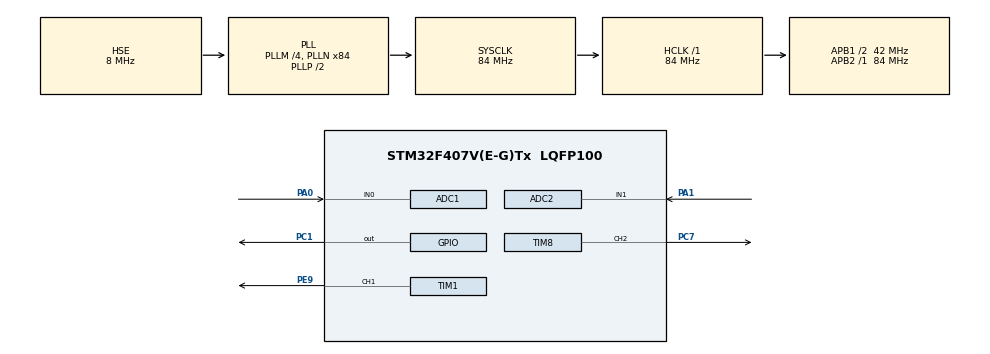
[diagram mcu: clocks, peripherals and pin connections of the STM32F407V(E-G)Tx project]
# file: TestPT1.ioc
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ADC1.Channel-0\#ChannelRegularConversion=ADC_CHANNEL_0
ADC1.ClockPrescaler=ADC_CLOCK_SYNC_PCLK_DIV4
ADC1.NbrOfConversionFlag=1
ADC1.Rank-0\#ChannelRegularConversion=1
ADC1.SamplingTime-0\#ChannelRegularConversion=ADC_SAMPLETIME_3CYCLES
ADC1.master=1
ADC2.Channel-0\#ChannelRegularConversion=ADC_CHANNEL_1
ADC2.ClockPrescaler=ADC_CLOCK_SYNC_PCLK_DIV4
ADC2.NbrOfConversionFlag=1
ADC2.Rank-0\#ChannelRegularConversion=1
ADC2.SamplingTime-0\#ChannelRegularConversion=ADC_SAMPLETIME_3CYCLES
Dma.Request0=TIM1_CH1
Dma.Request1=TIM8_CH2
Dma.TIM1_CH1.0.Direction=DMA_MEMORY_TO_PERIPH
Dma.TIM1_CH1.0.FIFOMode=DMA_FIFOMODE_DISABLE
Dma.TIM1_CH1.0.Instance=DMA2_Stream1
Dma.TIM1_CH1.0.MemDataAlignment=DMA_MDATAALIGN_HALFWORD
Dma.TIM1_CH1.0.MemInc=DMA_MINC_ENABLE
Dma.TIM1_CH1.0.Mode=DMA_NORMAL
Dma.TIM1_CH1.0.PeriphDataAlignment=DMA_PDATAALIGN_HALFWORD
Dma.TIM1_CH1.0.PeriphInc=DMA_PINC_DISABLE
Dma.TIM1_CH1.0.Priority=DMA_PRIORITY_LOW
Dma.TIM8_CH2.1.Direction=DMA_MEMORY_TO_PERIPH
Dma.TIM8_CH2.1.FIFOMode=DMA_FIFOMODE_DISABLE
Dma.TIM8_CH2.1.Instance=DMA2_Stream3
Dma.TIM8_CH2.1.MemDataAlignment=DMA_MDATAALIGN_HALFWORD
Dma.TIM8_CH2.1.MemInc=DMA_MINC_ENABLE
Dma.TIM8_CH2.1.Mode=DMA_NORMAL
Dma.TIM8_CH2.1.PeriphDataAlignment=DMA_PDATAALIGN_HALFWORD
Dma.TIM8_CH2.1.PeriphInc=DMA_PINC_DISABLE
Dma.TIM8_CH2.1.Priority=DMA_PRIORITY_LOW
Mcu.Family=STM32F4
Mcu.Name=STM32F407V(E-G)Tx
Mcu.Package=LQFP100
NVIC.DMA2_Stream1_IRQn=true\:0\:0\:false\:false\:true\:false\:true\:true
NVIC.DMA2_Stream3_IRQn=true\:0\:0\:false\:false\:true\:false\:true\:true
NVIC.PriorityGroup=NVIC_PRIORITYGROUP_4
PA0-WKUP.Signal=ADCx_IN0
PA1.Signal=ADCx_IN1
PA13.Mode=Serial_Wire
PA13.Signal=SYS_JTMS-SWDIO
PA14.Mode=Serial_Wire
PA14.Signal=SYS_JTCK-SWCLK
PC1.Signal=GPIO_Output
PC14-OSC32_IN.Mode=LSE-External-Oscillator
PC14-OSC32_IN.Signal=RCC_OSC32_IN
PC15-OSC32_OUT.Mode=LSE-External-Oscillator
PC15-OSC32_OUT.Signal=RCC_OSC32_OUT
PC7.Signal=S_TIM8_CH2
PE9.Signal=S_TIM1_CH1
PH0-OSC_IN.Mode=HSE-External-Oscillator
PH0-OSC_IN.Signal=RCC_OSC_IN
PH1-OSC_OUT.Mode=HSE-External-Oscillator
PH1-OSC_OUT.Signal=RCC_OSC_OUT
ProjectManager.HeapSize=0x200
ProjectManager.StackSize=0x400
ProjectManager.TargetToolchain=STM32CubeIDE
RCC.48MHZClocksFreq_Value=42000000
RCC.AHBFreq_Value=84000000
RCC.APB1CLKDivider=RCC_HCLK_DIV2
RCC.APB1Freq_Value=42000000
RCC.APB1TimFreq_Value=84000000
RCC.APB2Freq_Value=84000000
RCC.APB2TimFreq_Value=84000000
RCC.CortexFreq_Value=84000000
RCC.HCLKFreq_Value=84000000
RCC.HSE_VALUE=8000000
RCC.HSI_VALUE=16000000
RCC.PLLM=4
RCC.PLLN=84
RCC.PLLSourceVirtual=RCC_PLLSOURCE_HSE
RCC.SYSCLKFreq_VALUE=84000000
RCC.SYSCLKSource=RCC_SYSCLKSOURCE_PLLCLK
RCC.VCOOutputFreq_Value=168000000
SH.ADCx_IN0.0=ADC1_IN0,IN0
SH.ADCx_IN1.0=ADC2_IN1,IN1
SH.S_TIM1_CH1.0=TIM1_CH1,PWM Generation1 CH1
SH.S_TIM8_CH2.0=TIM8_CH2,PWM Generation2 CH2
TIM1.Channel-PWM\ Generation1\ CH1=TIM_CHANNEL_1
TIM1.Prescaler=84-1
TIM1.RepetitionCounter=100-1
TIM8.Channel-PWM\ Generation2\ CH2=TIM_CHANNEL_2
TIM8.Prescaler=84-1
TIM8.RepetitionCounter=100-1
VP_TIM1_VS_ClockSourceINT.Mode=Internal
VP_TIM8_VS_ClockSourceINT.Mode=Internal
board=custom

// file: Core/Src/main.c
/* USER CODE BEGIN Header */
/**
  ******************************************************************************
  * @file           : main.c
  * @brief          : Main program body
  ******************************************************************************
  * @attention
  *
  * Copyright (c) 2023 STMicroelectronics.
  * All rights reserved.
  *
  * This software is licensed under terms that can be found in the LICENSE file
  * in the root directory of this software component.
  * If no LICENSE file comes with this software, it is provided AS-IS.
  *
  ******************************************************************************
  */
/* USER CODE END Header */
#include "main.h"

ADC_HandleTypeDef hadc1;
ADC_HandleTypeDef hadc2;

TIM_HandleTypeDef htim1;
TIM_HandleTypeDef htim8;
DMA_HandleTypeDef hdma_tim1_ch1;
DMA_HandleTypeDef hdma_tim8_ch2;

void SystemClock_Config(void);
static void MX_GPIO_Init(void);
static void MX_DMA_Init(void);
static void MX_ADC1_Init(void);
static void MX_ADC2_Init(void);
static void MX_TIM1_Init(void);
static void MX_TIM8_Init(void);

int main(void)
{

  /* MCU Configuration--------------------------------------------------------*/

  /* Reset of all peripherals, Initializes the Flash interface and the Systick. */
  HAL_Init();

  /* Configure the system clock */
  SystemClock_Config();

  /* Initialize all configured peripherals */
  MX_GPIO_Init();
  MX_DMA_Init();
  MX_ADC1_Init();
  MX_ADC2_Init();
  MX_TIM1_Init();
  MX_TIM8_Init();
  /* USER CODE BEGIN 2 */

  uint32_t adc_steering, adc_throttle;

  //setting up first PWM
  //TIM1->CCR1 = 50;
  //HAL_TIM_PWM_ConfigChannel(&htim1, &sConfigOC, TIM_CHANNEL_1);
  HAL_TIM_Base_Start(&htim1);
  HAL_TIM_PWM_Start(&htim1, TIM_CHANNEL_1);

  //setting up second PWM
  //TIM8->CCR2 = 50;
  //HAL_TIM_PWM_ConfigChannel(&htim8, &sConfigOC, TIM_CHANNEL_2);
  HAL_TIM_Base_Start(&htim8);
  HAL_TIM_PWM_Start(&htim8, TIM_CHANNEL_2);

  /* USER CODE END 2 */

  /* Infinite loop */
  while (1)
  {

    /* USER CODE BEGIN 3 */

	  //ADC

	  //getting steering value
	  HAL_ADC_Start(&hadc1); 								//starting ADC conversion
	  HAL_ADC_PollForConversion(&hadc1, HAL_MAX_DELAY);	  	//waiting for conversion
	  adc_steering = HAL_ADC_GetValue(&hadc1);	  			//Read ADC converted value
	  HAL_ADC_Stop(&hadc1);									//stop conversion
	  //getting throttle value
	  HAL_ADC_Start(&hadc2); 								//starting ADC conversion
	  HAL_ADC_PollForConversion(&hadc2, HAL_MAX_DELAY);	  	//waiting for conversion
	  adc_throttle = HAL_ADC_GetValue(&hadc2);	  			//Read ADC converted value
	  HAL_ADC_Stop(&hadc2);									//stop conversion

	  printf("Steering Value: %lu \n", adc_steering);
	  printf("Throttle Value: %lu \n", adc_throttle);

	  __HAL_TIM_SetCompare(&htim1, TIM_CHANNEL_1, adc_steering);
	  __HAL_TIM_SetCompare(&htim8, TIM_CHANNEL_2, adc_throttle);

	  HAL_GPIO_TogglePin(GPIOC, GPIO_PIN_1);
	  HAL_Delay(adc_steering);
  }
  /* USER CODE END 3 */
}

void SystemClock_Config(void)
{
  RCC_OscInitTypeDef RCC_OscInitStruct = {0};
  RCC_ClkInitTypeDef RCC_ClkInitStruct = {0};

  /** Configure the main internal regulator output voltage
  */
  __HAL_RCC_PWR_CLK_ENABLE();
  __HAL_PWR_VOLTAGESCALING_CONFIG(PWR_REGULATOR_VOLTAGE_SCALE1);

  /** Initializes the RCC Oscillators according to the specified parameters
  * in the RCC_OscInitTypeDef structure.
  */
  RCC_OscInitStruct.OscillatorType = RCC_OSCILLATORTYPE_HSE;
  RCC_OscInitStruct.HSEState = RCC_HSE_ON;
  RCC_OscInitStruct.PLL.PLLState = RCC_PLL_ON;
  RCC_OscInitStruct.PLL.PLLSource = RCC_PLLSOURCE_HSE;
  RCC_OscInitStruct.PLL.PLLM = 4;
  RCC_OscInitStruct.PLL.PLLN = 84;
  RCC_OscInitStruct.PLL.PLLP = RCC_PLLP_DIV2;
  RCC_OscInitStruct.PLL.PLLQ = 4;
  if (HAL_RCC_OscConfig(&RCC_OscInitStruct) != HAL_OK)
  {
    Error_Handler();
  }

  /** Initializes the CPU, AHB and APB buses clocks
  */
  RCC_ClkInitStruct.ClockType = RCC_CLOCKTYPE_HCLK|RCC_CLOCKTYPE_SYSCLK
                              |RCC_CLOCKTYPE_PCLK1|RCC_CLOCKTYPE_PCLK2;
  RCC_ClkInitStruct.SYSCLKSource = RCC_SYSCLKSOURCE_PLLCLK;
  RCC_ClkInitStruct.AHBCLKDivider = RCC_SYSCLK_DIV1;
  RCC_ClkInitStruct.APB1CLKDivider = RCC_HCLK_DIV2;
  RCC_ClkInitStruct.APB2CLKDivider = RCC_HCLK_DIV1;

  if (HAL_RCC_ClockConfig(&RCC_ClkInitStruct, FLASH_LATENCY_2) != HAL_OK)
  {
    Error_Handler();
  }
}

static void MX_ADC1_Init(void)
{

  ADC_ChannelConfTypeDef sConfig = {0};

  /** Configure the global features of the ADC (Clock, Resolution, Data Alignment and number of conversion)
  */
  hadc1.Instance = ADC1;
  hadc1.Init.ClockPrescaler = ADC_CLOCK_SYNC_PCLK_DIV4;
  hadc1.Init.Resolution = ADC_RESOLUTION_12B;
  hadc1.Init.ScanConvMode = DISABLE;
  hadc1.Init.ContinuousConvMode = DISABLE;
  hadc1.Init.DiscontinuousConvMode = DISABLE;
  hadc1.Init.ExternalTrigConvEdge = ADC_EXTERNALTRIGCONVEDGE_NONE;
  hadc1.Init.ExternalTrigConv = ADC_SOFTWARE_START;
  hadc1.Init.DataAlign = ADC_DATAALIGN_RIGHT;
  hadc1.Init.NbrOfConversion = 1;
  hadc1.Init.DMAContinuousRequests = DISABLE;
  hadc1.Init.EOCSelection = ADC_EOC_SINGLE_CONV;
  if (HAL_ADC_Init(&hadc1) != HAL_OK)
  {
    Error_Handler();
  }

  /** Configure for the selected ADC regular channel its corresponding rank in the sequencer and its sample time.
  */
  sConfig.Channel = ADC_CHANNEL_0;
  sConfig.Rank = 1;
  sConfig.SamplingTime = ADC_SAMPLETIME_3CYCLES;
  if (HAL_ADC_ConfigChannel(&hadc1, &sConfig) != HAL_OK)
  {
    Error_Handler();
  }

}

static void MX_ADC2_Init(void)
{

  ADC_ChannelConfTypeDef sConfig = {0};

  /** Configure the global features of the ADC (Clock, Resolution, Data Alignment and number of conversion)
  */
  hadc2.Instance = ADC2;
  hadc2.Init.ClockPrescaler = ADC_CLOCK_SYNC_PCLK_DIV4;
  hadc2.Init.Resolution = ADC_RESOLUTION_12B;
  hadc2.Init.ScanConvMode = DISABLE;
  hadc2.Init.ContinuousConvMode = DISABLE;
  hadc2.Init.DiscontinuousConvMode = DISABLE;
  hadc2.Init.ExternalTrigConvEdge = ADC_EXTERNALTRIGCONVEDGE_NONE;
  hadc2.Init.ExternalTrigConv = ADC_SOFTWARE_START;
  hadc2.Init.DataAlign = ADC_DATAALIGN_RIGHT;
  hadc2.Init.NbrOfConversion = 1;
  hadc2.Init.DMAContinuousRequests = DISABLE;
  hadc2.Init.EOCSelection = ADC_EOC_SINGLE_CONV;
  if (HAL_ADC_Init(&hadc2) != HAL_OK)
  {
    Error_Handler();
  }

  /** Configure for the selected ADC regular channel its corresponding rank in the sequencer and its sample time.
  */
  sConfig.Channel = ADC_CHANNEL_1;
  sConfig.Rank = 1;
  sConfig.SamplingTime = ADC_SAMPLETIME_3CYCLES;
  if (HAL_ADC_ConfigChannel(&hadc2, &sConfig) != HAL_OK)
  {
    Error_Handler();
  }

}

static void MX_TIM1_Init(void)
{

  TIM_ClockConfigTypeDef sClockSourceConfig = {0};
  TIM_MasterConfigTypeDef sMasterConfig = {0};
  TIM_OC_InitTypeDef sConfigOC = {0};
  TIM_BreakDeadTimeConfigTypeDef sBreakDeadTimeConfig = {0};

  htim1.Instance = TIM1;
  htim1.Init.Prescaler = 84-1;
  htim1.Init.CounterMode = TIM_COUNTERMODE_UP;
  htim1.Init.Period = 65535;
  htim1.Init.ClockDivision = TIM_CLOCKDIVISION_DIV1;
  htim1.Init.RepetitionCounter = 100-1;
  htim1.Init.AutoReloadPreload = TIM_AUTORELOAD_PRELOAD_DISABLE;
  if (HAL_TIM_Base_Init(&htim1) != HAL_OK)
  {
    Error_Handler();
  }
  sClockSourceConfig.ClockSource = TIM_CLOCKSOURCE_INTERNAL;
  if (HAL_TIM_ConfigClockSource(&htim1, &sClockSourceConfig) != HAL_OK)
  {
    Error_Handler();
  }
  if (HAL_TIM_PWM_Init(&htim1) != HAL_OK)
  {
    Error_Handler();
  }
  sMasterConfig.MasterOutputTrigger = TIM_TRGO_RESET;
  sMasterConfig.MasterSlaveMode = TIM_MASTERSLAVEMODE_DISABLE;
  if (HAL_TIMEx_MasterConfigSynchronization(&htim1, &sMasterConfig) != HAL_OK)
  {
    Error_Handler();
  }
  sConfigOC.OCMode = TIM_OCMODE_PWM1;
  sConfigOC.Pulse = 0;
  sConfigOC.OCPolarity = TIM_OCPOLARITY_HIGH;
  sConfigOC.OCNPolarity = TIM_OCNPOLARITY_HIGH;
  sConfigOC.OCFastMode = TIM_OCFAST_DISABLE;
  sConfigOC.OCIdleState = TIM_OCIDLESTATE_RESET;
  sConfigOC.OCNIdleState = TIM_OCNIDLESTATE_RESET;
  if (HAL_TIM_PWM_ConfigChannel(&htim1, &sConfigOC, TIM_CHANNEL_1) != HAL_OK)
  {
    Error_Handler();
  }
  sBreakDeadTimeConfig.OffStateRunMode = TIM_OSSR_DISABLE;
  sBreakDeadTimeConfig.OffStateIDLEMode = TIM_OSSI_DISABLE;
  sBreakDeadTimeConfig.LockLevel = TIM_LOCKLEVEL_OFF;
  sBreakDeadTimeConfig.DeadTime = 0;
  sBreakDeadTimeConfig.BreakState = TIM_BREAK_DISABLE;
  sBreakDeadTimeConfig.BreakPolarity = TIM_BREAKPOLARITY_HIGH;
  sBreakDeadTimeConfig.AutomaticOutput = TIM_AUTOMATICOUTPUT_DISABLE;
  if (HAL_TIMEx_ConfigBreakDeadTime(&htim1, &sBreakDeadTimeConfig) != HAL_OK)
  {
    Error_Handler();
  }
  HAL_TIM_MspPostInit(&htim1);

}

static void MX_TIM8_Init(void)
{

  TIM_ClockConfigTypeDef sClockSourceConfig = {0};
  TIM_MasterConfigTypeDef sMasterConfig = {0};
  TIM_OC_InitTypeDef sConfigOC = {0};
  TIM_BreakDeadTimeConfigTypeDef sBreakDeadTimeConfig = {0};

  htim8.Instance = TIM8;
  htim8.Init.Prescaler = 84-1;
  htim8.Init.CounterMode = TIM_COUNTERMODE_UP;
  htim8.Init.Period = 65535;
  htim8.Init.ClockDivision = TIM_CLOCKDIVISION_DIV1;
  htim8.Init.RepetitionCounter = 100-1;
  htim8.Init.AutoReloadPreload = TIM_AUTORELOAD_PRELOAD_DISABLE;
  if (HAL_TIM_Base_Init(&htim8) != HAL_OK)
  {
    Error_Handler();
  }
  sClockSourceConfig.ClockSource = TIM_CLOCKSOURCE_INTERNAL;
  if (HAL_TIM_ConfigClockSource(&htim8, &sClockSourceConfig) != HAL_OK)
  {
    Error_Handler();
  }
  if (HAL_TIM_PWM_Init(&htim8) != HAL_OK)
  {
    Error_Handler();
  }
  sMasterConfig.MasterOutputTrigger = TIM_TRGO_RESET;
  sMasterConfig.MasterSlaveMode = TIM_MASTERSLAVEMODE_DISABLE;
  if (HAL_TIMEx_MasterConfigSynchronization(&htim8, &sMasterConfig) != HAL_OK)
  {
    Error_Handler();
  }
  sConfigOC.OCMode = TIM_OCMODE_PWM1;
  sConfigOC.Pulse = 0;
  sConfigOC.OCPolarity = TIM_OCPOLARITY_HIGH;
  sConfigOC.OCNPolarity = TIM_OCNPOLARITY_HIGH;
  sConfigOC.OCFastMode = TIM_OCFAST_DISABLE;
  sConfigOC.OCIdleState = TIM_OCIDLESTATE_RESET;
  sConfigOC.OCNIdleState = TIM_OCNIDLESTATE_RESET;
  if (HAL_TIM_PWM_ConfigChannel(&htim8, &sConfigOC, TIM_CHANNEL_2) != HAL_OK)
  {
    Error_Handler();
  }
  sBreakDeadTimeConfig.OffStateRunMode = TIM_OSSR_DISABLE;
  sBreakDeadTimeConfig.OffStateIDLEMode = TIM_OSSI_DISABLE;
  sBreakDeadTimeConfig.LockLevel = TIM_LOCKLEVEL_OFF;
  sBreakDeadTimeConfig.DeadTime = 0;
  sBreakDeadTimeConfig.BreakState = TIM_BREAK_DISABLE;
  sBreakDeadTimeConfig.BreakPolarity = TIM_BREAKPOLARITY_HIGH;
  sBreakDeadTimeConfig.AutomaticOutput = TIM_AUTOMATICOUTPUT_DISABLE;
  if (HAL_TIMEx_ConfigBreakDeadTime(&htim8, &sBreakDeadTimeConfig) != HAL_OK)
  {
    Error_Handler();
  }
  HAL_TIM_MspPostInit(&htim8);

}

static void MX_DMA_Init(void)
{

  /* DMA controller clock enable */
  __HAL_RCC_DMA2_CLK_ENABLE();

  /* DMA interrupt init */
  /* DMA2_Stream1_IRQn interrupt configuration */
  HAL_NVIC_SetPriority(DMA2_Stream1_IRQn, 0, 0);
  HAL_NVIC_EnableIRQ(DMA2_Stream1_IRQn);
  /* DMA2_Stream3_IRQn interrupt configuration */
  HAL_NVIC_SetPriority(DMA2_Stream3_IRQn, 0, 0);
  HAL_NVIC_EnableIRQ(DMA2_Stream3_IRQn);

}

static void MX_GPIO_Init(void)
{
  GPIO_InitTypeDef GPIO_InitStruct = {0};

  /* GPIO Ports Clock Enable */
  __HAL_RCC_GPIOC_CLK_ENABLE();
  __HAL_RCC_GPIOH_CLK_ENABLE();
  __HAL_RCC_GPIOA_CLK_ENABLE();
  __HAL_RCC_GPIOE_CLK_ENABLE();

  /*Configure GPIO pin Output Level */
  HAL_GPIO_WritePin(GPIOC, GPIO_PIN_1, GPIO_PIN_RESET);

  /*Configure GPIO pin : PC1 */
  GPIO_InitStruct.Pin = GPIO_PIN_1;
  GPIO_InitStruct.Mode = GPIO_MODE_OUTPUT_PP;
  GPIO_InitStruct.Pull = GPIO_NOPULL;
  GPIO_InitStruct.Speed = GPIO_SPEED_FREQ_LOW;
  HAL_GPIO_Init(GPIOC, &GPIO_InitStruct);

}

/* USER CODE BEGIN 4 */

int _write(int file, char *ptr, int len)
{
	int DataIdx;

	for (DataIdx = 0; DataIdx < len; DataIdx++)
	{
		ITM_SendChar(*ptr++);
	}
	return len;
}

/* USER CODE END 4 */

void Error_Handler(void)
{
  __disable_irq();
  while (1)
  {
  }
}
